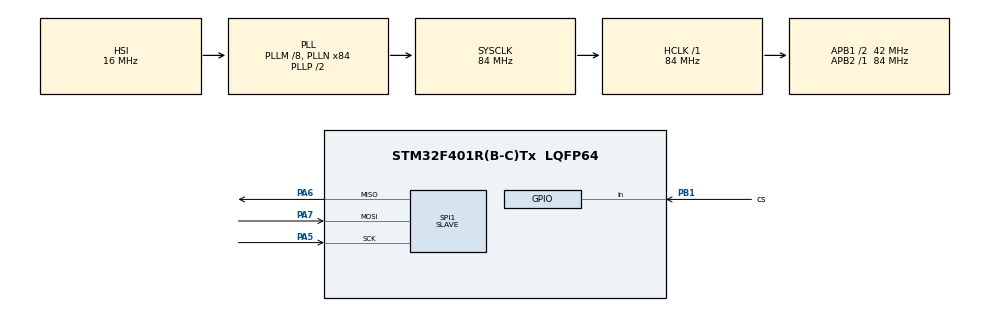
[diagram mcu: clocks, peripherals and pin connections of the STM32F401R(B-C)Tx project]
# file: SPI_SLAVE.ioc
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Dma.Request0=SPI1_RX
Dma.SPI1_RX.0.Direction=DMA_PERIPH_TO_MEMORY
Dma.SPI1_RX.0.FIFOMode=DMA_FIFOMODE_DISABLE
Dma.SPI1_RX.0.Instance=DMA2_Stream2
Dma.SPI1_RX.0.MemDataAlignment=DMA_MDATAALIGN_BYTE
Dma.SPI1_RX.0.MemInc=DMA_MINC_ENABLE
Dma.SPI1_RX.0.Mode=DMA_NORMAL
Dma.SPI1_RX.0.PeriphDataAlignment=DMA_PDATAALIGN_BYTE
Dma.SPI1_RX.0.PeriphInc=DMA_PINC_DISABLE
Dma.SPI1_RX.0.Priority=DMA_PRIORITY_LOW
Mcu.Family=STM32F4
Mcu.Name=STM32F401R(B-C)Tx
Mcu.Package=LQFP64
NVIC.DMA2_Stream2_IRQn=true\:0\:0\:false\:false\:true\:false\:true\:true
NVIC.PriorityGroup=NVIC_PRIORITYGROUP_4
NVIC.SPI1_IRQn=true\:0\:0\:false\:false\:true\:true\:true\:true
PA5.Mode=Full_Duplex_Slave
PA5.Signal=SPI1_SCK
PA6.Mode=Full_Duplex_Slave
PA6.Signal=SPI1_MISO
PA7.Mode=Full_Duplex_Slave
PA7.Signal=SPI1_MOSI
PB1.GPIO_Label=cs
PB1.Signal=GPIO_Input
ProjectManager.HeapSize=0x200
ProjectManager.StackSize=0x400
ProjectManager.TargetToolchain=MDK-ARM V5.32
RCC.48MHZClocksFreq_Value=42000000
RCC.AHBFreq_Value=84000000
RCC.APB1CLKDivider=RCC_HCLK_DIV2
RCC.APB1Freq_Value=42000000
RCC.APB1TimFreq_Value=84000000
RCC.APB2Freq_Value=84000000
RCC.APB2TimFreq_Value=84000000
RCC.CortexFreq_Value=84000000
RCC.HCLKFreq_Value=84000000
RCC.HSE_VALUE=25000000
RCC.HSI_VALUE=16000000
RCC.LSE_VALUE=32768
RCC.PLLM=8
RCC.PLLN=84
RCC.SYSCLKFreq_VALUE=84000000
RCC.SYSCLKSource=RCC_SYSCLKSOURCE_PLLCLK
RCC.VCOOutputFreq_Value=168000000
SPI1.CLKPhase=SPI_PHASE_2EDGE
SPI1.CLKPolarity=SPI_POLARITY_HIGH
SPI1.Direction=SPI_DIRECTION_2LINES
SPI1.Mode=SPI_MODE_SLAVE
SPI1.VirtualType=VM_SLAVE
board=custom

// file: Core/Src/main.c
/* USER CODE BEGIN Header */
/**
  ******************************************************************************
  * @file           : main.c
  * @brief          : Main program body
  ******************************************************************************
  * @attention
  *
  * Copyright (c) 2024 STMicroelectronics.
  * All rights reserved.
  *
  * This software is licensed under terms that can be found in the LICENSE file
  * in the root directory of this software component.
  * If no LICENSE file comes with this software, it is provided AS-IS.
  *
  ******************************************************************************
  */
/* USER CODE END Header */
#include "main.h"

/* USER CODE BEGIN PM */
uint8_t rx_data[13];
uint8_t tx_data[5]={0xff,'a','p','u',0xff};
uint32_t a;
uint16_t fail;
uint8_t status;
volatile uint16_t flag=0;
/* USER CODE END PM */

SPI_HandleTypeDef hspi1;
DMA_HandleTypeDef hdma_spi1_rx;

void SystemClock_Config(void);
static void MX_GPIO_Init(void);
static void MX_DMA_Init(void);
static void MX_SPI1_Init(void);

int main(void)
{

  /* MCU Configuration--------------------------------------------------------*/

  /* Reset of all peripherals, Initializes the Flash interface and the Systick. */
  HAL_Init();

  /* Configure the system clock */
  SystemClock_Config();

  /* Initialize all configured peripherals */
  MX_GPIO_Init();
  MX_DMA_Init();
  MX_SPI1_Init();
  /* USER CODE BEGIN 2 */
 HAL_SPI_Receive_DMA(&hspi1,rx_data,13);
 //HAL_SPI_Receive_IT(&hspi1,rx_data, 13);
  /* USER CODE END 2 */

  /* Infinite loop */
  while (1)
  {

    /* USER CODE BEGIN 3 */
		  if(flag==1)
			{
				if(HAL_GPIO_ReadPin(cs_GPIO_Port,cs_Pin)==1)
					{
						tx_data[2]++;
					HAL_SPI_Transmit_IT(&hspi1,tx_data,5);
				}

		 a++;

		 flag=0;

			}

  }
  /* USER CODE END 3 */
}

void SystemClock_Config(void)
{
  RCC_OscInitTypeDef RCC_OscInitStruct = {0};
  RCC_ClkInitTypeDef RCC_ClkInitStruct = {0};

  /** Configure the main internal regulator output voltage
  */
  __HAL_RCC_PWR_CLK_ENABLE();
  __HAL_PWR_VOLTAGESCALING_CONFIG(PWR_REGULATOR_VOLTAGE_SCALE2);

  /** Initializes the RCC Oscillators according to the specified parameters
  * in the RCC_OscInitTypeDef structure.
  */
  RCC_OscInitStruct.OscillatorType = RCC_OSCILLATORTYPE_HSI;
  RCC_OscInitStruct.HSIState = RCC_HSI_ON;
  RCC_OscInitStruct.HSICalibrationValue = RCC_HSICALIBRATION_DEFAULT;
  RCC_OscInitStruct.PLL.PLLState = RCC_PLL_ON;
  RCC_OscInitStruct.PLL.PLLSource = RCC_PLLSOURCE_HSI;
  RCC_OscInitStruct.PLL.PLLM = 8;
  RCC_OscInitStruct.PLL.PLLN = 84;
  RCC_OscInitStruct.PLL.PLLP = RCC_PLLP_DIV2;
  RCC_OscInitStruct.PLL.PLLQ = 4;
  if (HAL_RCC_OscConfig(&RCC_OscInitStruct) != HAL_OK)
  {
    Error_Handler();
  }

  /** Initializes the CPU, AHB and APB buses clocks
  */
  RCC_ClkInitStruct.ClockType = RCC_CLOCKTYPE_HCLK|RCC_CLOCKTYPE_SYSCLK
                              |RCC_CLOCKTYPE_PCLK1|RCC_CLOCKTYPE_PCLK2;
  RCC_ClkInitStruct.SYSCLKSource = RCC_SYSCLKSOURCE_PLLCLK;
  RCC_ClkInitStruct.AHBCLKDivider = RCC_SYSCLK_DIV1;
  RCC_ClkInitStruct.APB1CLKDivider = RCC_HCLK_DIV2;
  RCC_ClkInitStruct.APB2CLKDivider = RCC_HCLK_DIV1;

  if (HAL_RCC_ClockConfig(&RCC_ClkInitStruct, FLASH_LATENCY_2) != HAL_OK)
  {
    Error_Handler();
  }
}

static void MX_SPI1_Init(void)
{

  /* SPI1 parameter configuration*/
  hspi1.Instance = SPI1;
  hspi1.Init.Mode = SPI_MODE_SLAVE;
  hspi1.Init.Direction = SPI_DIRECTION_2LINES;
  hspi1.Init.DataSize = SPI_DATASIZE_8BIT;
  hspi1.Init.CLKPolarity = SPI_POLARITY_HIGH;
  hspi1.Init.CLKPhase = SPI_PHASE_2EDGE;
  hspi1.Init.NSS = SPI_NSS_SOFT;
  hspi1.Init.FirstBit = SPI_FIRSTBIT_MSB;
  hspi1.Init.TIMode = SPI_TIMODE_DISABLE;
  hspi1.Init.CRCCalculation = SPI_CRCCALCULATION_DISABLE;
  hspi1.Init.CRCPolynomial = 10;
  if (HAL_SPI_Init(&hspi1) != HAL_OK)
  {
    Error_Handler();
  }

}

static void MX_DMA_Init(void)
{

  /* DMA controller clock enable */
  __HAL_RCC_DMA2_CLK_ENABLE();

  /* DMA interrupt init */
  /* DMA2_Stream2_IRQn interrupt configuration */
  HAL_NVIC_SetPriority(DMA2_Stream2_IRQn, 0, 0);
  HAL_NVIC_EnableIRQ(DMA2_Stream2_IRQn);

}

static void MX_GPIO_Init(void)
{
  GPIO_InitTypeDef GPIO_InitStruct = {0};

  /* GPIO Ports Clock Enable */
  __HAL_RCC_GPIOA_CLK_ENABLE();
  __HAL_RCC_GPIOB_CLK_ENABLE();

  /*Configure GPIO pin : cs_Pin */
  GPIO_InitStruct.Pin = cs_Pin;
  GPIO_InitStruct.Mode = GPIO_MODE_INPUT;
  GPIO_InitStruct.Pull = GPIO_NOPULL;
  HAL_GPIO_Init(cs_GPIO_Port, &GPIO_InitStruct);

}

/* USER CODE BEGIN 4 */
void HAL_SPI_RxCpltCallback(SPI_HandleTypeDef *hspi)
{

			if (rx_data[0]==0xff && rx_data[1] == 0x01 && rx_data[12] == 0xff )
			{
				flag=1;
			}
			else{

			//	HAL_SPI_Receive_IT(&hspi1,rx_data, 13);
				while(  HAL_GPIO_ReadPin(cs_GPIO_Port,cs_Pin))
				{}
NVIC_SystemReset();
//				MX_GPIO_Init();
//        MX_DMA_Init();
//				MX_SPI1_Init();
				 HAL_SPI_Receive_DMA(&hspi1,rx_data,13);
			}

	//
}
void HAL_SPI_TxCpltCallback(SPI_HandleTypeDef * hspi)
{
  // HAL_SPI_Receive_IT(&hspi1,rx_data, 13);
					while(  HAL_GPIO_ReadPin(cs_GPIO_Port,cs_Pin))
				{}
	 HAL_SPI_Receive_DMA(&hspi1,rx_data,13);
}

/* USER CODE END 4 */

void Error_Handler(void)
{
  __disable_irq();
  while (1)
  {
  }
}
